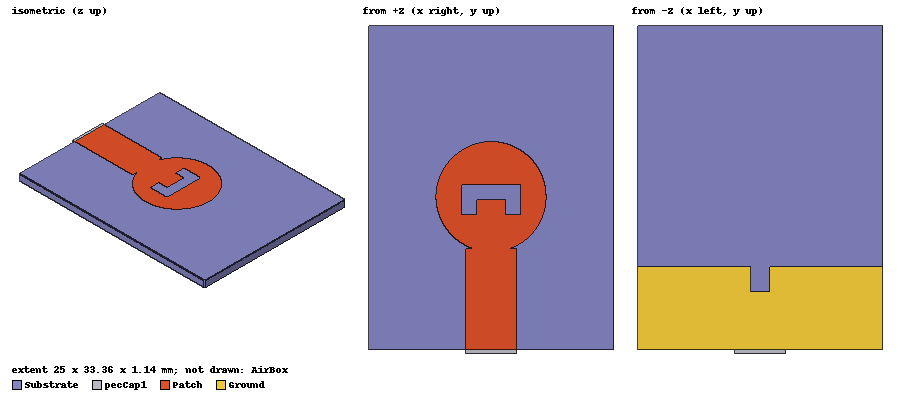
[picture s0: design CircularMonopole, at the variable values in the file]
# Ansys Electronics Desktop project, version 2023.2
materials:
  vacuum: permittivity=1
  RT5880: permittivity=2.2 permeability=1 dielectric_loss_tangent=0.0009
  copper: permeability=0.999991 conductivity=58000000
  pec: conductivity=1e+30
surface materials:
  Steel-oxidised-surface

design CircularMonopole (HFSS, HFSS Modal Network, model units mm)
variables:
  l = 33mm
  w = 25mm
  sub_h = 1.14mm
  lw = 5.25mm
  l1 = 10mm
  patch_r = 5.6mm
  slot_length = 12mm
  l2 = 1.2mm
  sw = 1.5mm
  g1 = 8.5mm
  g2 = 2mm
  g3 = 2.6mm
  air_pad = 25mm
  l3 = slot_length/2
  l4 = slot_length/4
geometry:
  Substrate [RT5880] = box(corner=(-w/2, 0mm, 0mm), size=(w, l, sub_h))
  Patch [copper] = circle(normal=Z, centre=(0mm, l1+patch_r, sub_h), radius=patch_r)
  Feed = rectangle(corner=(-lw/2, 0mm, sub_h), x_size=lw, y_size=l1+0.3mm)
  Patch.unite(Feed)
  USlotBar = rectangle(corner=(-l3/2, l1+patch_r+l2-sw, sub_h), x_size=l3, y_size=sw)
  USlotLeft = rectangle(corner=(-l3/2, l1+patch_r+l2-l4, sub_h), x_size=sw, y_size=l4)
  USlotRight = rectangle(corner=(l3/2-sw, l1+patch_r+l2-l4, sub_h), x_size=sw, y_size=l4)
  USlotBar.unite(USlotLeft, USlotRight)
  Patch.subtract(USlotBar)
  Ground [copper] = rectangle(corner=(-w/2, 0mm, 0mm), x_size=w, y_size=g1)
  GroundNotch = rectangle(corner=(-g2/2, g1-g3, 0mm), x_size=g2, y_size=g3)
  Ground.subtract(GroundNotch)
  AirBox [vacuum] = box(corner=(-w/2-air_pad, -air_pad, -air_pad), size=(w+2*air_pad, l+2*air_pad, sub_h+2*air_pad))
  Port = rectangle(corner=(-lw/2, 0mm, 0mm), z_size=sub_h, x_size=lw)
  pecCap1 [pec] = sweep_along_normal(Port.face(at (0, 0, 0.57)), length=-0.36mm)
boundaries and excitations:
  PatchPEC: Perfect E Objects=Patch
  GroundPEC: Perfect E Objects=Ground
  Rad1: Radiation Objects=AirBox
  1: Wave Port Objects=Port WavePortType=Modal NumModes=1 Modes{Mode1{IntLine{(0, 0, 0) -> (0, 0, 1.14)} CharImp=Zpi}}
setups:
  Setup1: HfssDriven Frequency=12GHz MaxDeltaS=0.02 MaximumPasses=18 MinimumPasses=2 MinimumConvergedPasses=1 PercentRefinement=30 BasisOrder=1 PortAccuracy=2 DrivenSolverType="Direct Solver"
    sweep Sweep1: 1GHz to 15GHz, 141 points; Type=Interpolating InterpTolerance=0.5 InterpMaxSolns=250 InterpUsePortImped=false PassivityErrorTolerance=0.0001
    sweep RadSweep: point 3.65GHz; point 11.27GHz; SaveSingleField Type=Discrete SaveFields SaveRadFields
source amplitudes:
  1:1: 1W 0deg
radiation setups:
  FF3D: Infinite Sphere Theta=0deg..180deg step 5deg Phi=0deg..360deg step 5deg
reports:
  S11: dB(S(1,1)) vs Freq on Setup1 : Sweep1; markers MX1 at x=6.6020525e+09
  Eplane_3p65GHz: dB(GainTotal) vs Theta on Setup1 : RadSweep, FF3D [Phi=90deg Freq=3.65GHz]
  Hplane_3p65GHz: dB(GainTotal) vs Phi on Setup1 : RadSweep, FF3D [Theta=90deg Freq=3.65GHz]
  Eplane_11p27GHz: dB(GainTotal) vs Theta on Setup1 : RadSweep, FF3D [Phi=90deg Freq=11.27GHz]
  Hplane_11p27GHz: dB(GainTotal) vs Phi on Setup1 : RadSweep, FF3D [Theta=90deg Freq=11.27GHz]
